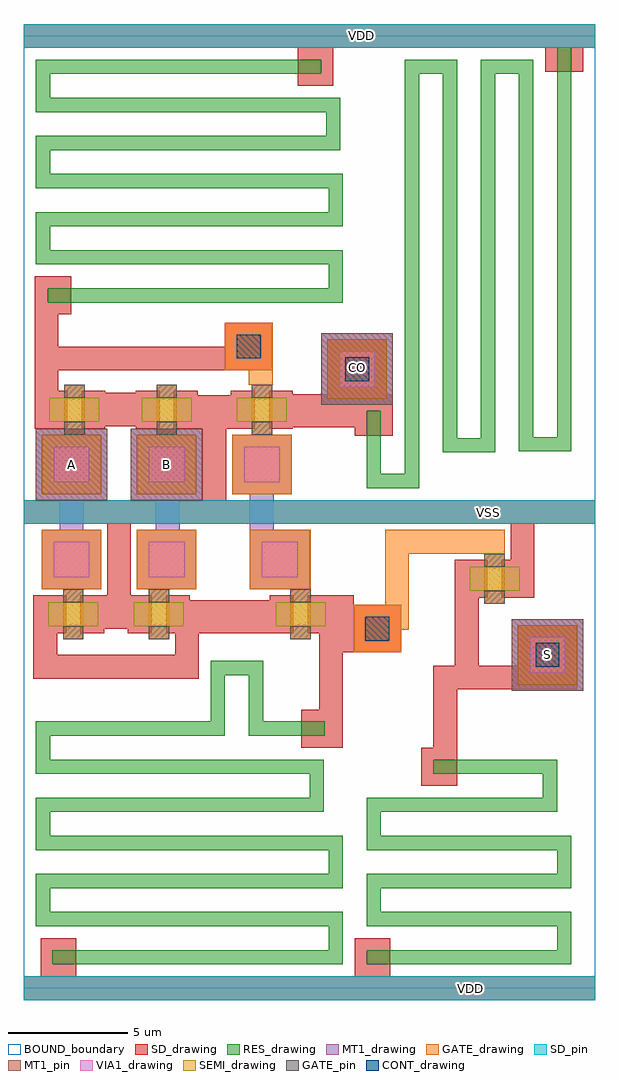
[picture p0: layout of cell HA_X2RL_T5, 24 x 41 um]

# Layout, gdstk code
from math import pi, radians
import gdstk
lib = gdstk.Library(unit=1e-6, precision=1e-09)
def R(c, l, rs):  # rectangles x0, y0, x1, y1
    for r in rs: c.add(gdstk.rectangle(r[:2], r[2:], *l))
def A(c, l, x, y, w, h, nx, ny, dx, dy):  # array of equal rectangles
    R(c, l, [(x+i*dx, y+j*dy, x+i*dx+w, y+j*dy+h) for i in range(nx) for j in range(ny)])
def P(c, l, *ps):  # polygons
    for p in ps: c.add(gdstk.Polygon(p, *l))
RES_drawing = (1, 0)
SEMI_drawing = (3, 0)
SD_drawing = (10, 0)
SD_pin = (10, 3)
GATE_drawing = (11, 0)
GATE_pin = (11, 3)
MT1_drawing = (20, 0)
MT1_pin = (20, 3)
CONT_drawing = (30, 0)
VIA1_drawing = (41, 0)
BOUND_boundary = (150, 5)

nch_cdns_772544902940 = lib.new_cell('nch_CDNS_772544902940')
R(nch_cdns_772544902940, SEMI_drawing, [(-1.05,-0.5,1.05,0.5)])
R(nch_cdns_772544902940, SD_drawing, [(-1.3,-0.8,-0.3,0.8), (0.3,-0.8,1.3,0.8)])
R(nch_cdns_772544902940, GATE_drawing, [(-0.425,-1.05,0.425,1.05)])
R(nch_cdns_772544902940, GATE_pin, [(-0.425,-1.05,0.425,-0.5), (-0.425,0.5,0.425,1.05)])

sd_gate_cdns_77254490294 = lib.new_cell('SD_GATE_CDNS_772544902940')
R(sd_gate_cdns_77254490294, SD_drawing, [(-1,-1,1,1)])
R(sd_gate_cdns_77254490294, GATE_drawing, [(-1,-1,1,1)])
R(sd_gate_cdns_77254490294, CONT_drawing, [(-0.5,-0.5,0.5,0.5)])

gate_mt1_cdns_7725449029 = lib.new_cell('GATE_MT1_CDNS_772544902941')
R(gate_mt1_cdns_7725449029, GATE_drawing, [(-1.25,-1.25,1.25,1.25)])
R(gate_mt1_cdns_7725449029, MT1_drawing, [(-1.25,-1.25,1.25,1.25)])
R(gate_mt1_cdns_7725449029, VIA1_drawing, [(-0.75,-0.75,0.75,0.75)])

ha_x2rl_t5 = lib.new_cell('HA_X2RL_T5')
R(ha_x2rl_t5, SD_drawing, [(0.7,0.5,2.2,2.1), (13.9,0.5,15.4,2.1), (16.7,8.5,18.2,10.1), (11.65,10.1,13.4,11.7), (20.75,12.75,23.25,15.25), (13.9,23.2,15.5,23.55), (12.75,24.75,15.25,27.25), (0.5,28.3,2,29.9), (11.5,37.9,13,39.5), (21.9,38.5,23.5,39.5)])
P(ha_x2rl_t5, SD_drawing, [(13.85,16.5),(12.4,16.5),(12.4,11.7),(13.4,11.7),(13.4,14.1),(13.85,14.1)])
A(ha_x2rl_t5, SD_pin, 0, -0.5, 24, 1, 1, 3, 0, 20)
R(ha_x2rl_t5, GATE_drawing, [(19.4,18.2,20.15,18.25)])
P(ha_x2rl_t5, GATE_drawing, [(6.15,16.85),(5.15,16.85),(5.15,16.75),(5.25,16.75),(5.25,16.7),(6,16.7),(6,16.75),(6.15,16.75)],
  [(12.05,19.25),(11.2,19.25),(11.2,16.75),(11.3,16.75),(11.3,16.7),(12.05,16.7)],
  [(2.6,16.85),(1.6,16.85),(1.6,16.75),(1.7,16.75),(1.7,16.7),(2.45,16.7),(2.45,16.75),(2.6,16.75)],
  [(1.6,23.15),(2.6,23.15),(2.6,23.25),(2.5,23.25),(2.5,23.3),(1.75,23.3),(1.75,23.25),(1.6,23.25)],
  [(9.45,25.45),(10.45,25.45),(10.45,25.35),(10.375,25.35),(10.375,25.3),(9.625,25.3),(9.625,25.35),(9.45,25.35)],
  [(9.475,23.15),(10.475,23.15),(10.475,23.25),(10.375,23.25),(10.375,23.3),(9.625,23.3),(9.625,23.25),(9.475,23.25)],
  [(5.475,23.15),(6.475,23.15),(6.475,23.25),(6.375,23.25),(6.375,23.3),(5.625,23.3),(5.625,23.25),(5.475,23.25)])
R(ha_x2rl_t5, MT1_drawing, [(20.5,12.5,23.5,15.5), (0.5,20.5,3.5,23.5), (4.5,20.5,7.5,23.5), (12.5,24.5,15.5,27.5)])
R(ha_x2rl_t5, MT1_pin, [(20.5,12.5,23.5,15.5), (0.5,20.5,3.5,23.5), (4.5,20.5,7.5,23.5), (12.5,24.5,15.5,27.5)])
R(ha_x2rl_t5, BOUND_boundary, [(0,0,24,40)])
ha_x2rl_t5.add(gdstk.FlexPath([(22.75,13.05),(18.85,13.05)], 1, ends="extended", simple_path=True, layer=10, datatype=0))  # SD_drawing
ha_x2rl_t5.add(gdstk.FlexPath([(18.6,18),(18.6,13.05)], 1, ends=(0, 0.5), simple_path=True, layer=10, datatype=0))  # SD_drawing
ha_x2rl_t5.add(gdstk.FlexPath([(17.7,13.05),(17.7,10.6)], 1, ends="extended", simple_path=True, layer=10, datatype=0))  # SD_drawing
ha_x2rl_t5.add(gdstk.FlexPath([(18.6,13.05),(17.7,13.05)], 1, ends="extended", simple_path=True, layer=10, datatype=0))  # SD_drawing
ha_x2rl_t5.add(gdstk.FlexPath([(20.95,20),(24,20)], 1, ends=(0.5, 0), simple_path=True, layer=10, datatype=0))  # SD_drawing
ha_x2rl_t5.add(gdstk.FlexPath([(10.325,15.6),(6.9,15.6)], 1.4, ends="flush", simple_path=True, layer=10, datatype=0))  # SD_drawing
ha_x2rl_t5.add(gdstk.FlexPath([(10.45,26.45),(1.2,26.45)], 1, ends="flush", simple_path=True, layer=10, datatype=0))  # SD_drawing
ha_x2rl_t5.add(gdstk.FlexPath([(20.95,20),(20.95,20.15)], 1, ends=(0.5, 0), simple_path=True, layer=10, datatype=0))  # SD_drawing
ha_x2rl_t5.add(gdstk.FlexPath([(8,24.9),(8,20.5)], 1, ends="flush", simple_path=True, layer=10, datatype=0))  # SD_drawing
ha_x2rl_t5.add(gdstk.FlexPath([(0,0),(24,0)], 1, ends="flush", simple_path=True, layer=10, datatype=0))  # SD_drawing
ha_x2rl_t5.add(gdstk.FlexPath([(4,15.8),(4,19.6)], 1, ends=(0.7, 0.5), simple_path=True, layer=10, datatype=0))  # SD_drawing
ha_x2rl_t5.add(gdstk.FlexPath([(3.3,15.8),(4,15.8)], 1.4, ends=(0, 0.5), simple_path=True, layer=10, datatype=0))  # SD_drawing
ha_x2rl_t5.add(gdstk.FlexPath([(4,15.8),(4.425,15.8)], 1.4, ends=(0.5, 0), simple_path=True, layer=10, datatype=0))  # SD_drawing
ha_x2rl_t5.add(gdstk.FlexPath([(0.95,29.4),(1.5,29.4)], 1, ends=(0.5, 0), simple_path=True, layer=10, datatype=0))  # SD_drawing
ha_x2rl_t5.add(gdstk.FlexPath([(0.95,24),(0.95,29.4)], 1, ends="extended", simple_path=True, layer=10, datatype=0))  # SD_drawing
ha_x2rl_t5.add(gdstk.FlexPath([(1.5,24),(0.95,24)], 1, ends=(0, 0.5), simple_path=True, layer=10, datatype=0))  # SD_drawing
ha_x2rl_t5.add(gdstk.FlexPath([(7.25,24.2),(9.7,24.2)], 1.4, ends="flush", simple_path=True, layer=10, datatype=0))  # SD_drawing
ha_x2rl_t5.add(gdstk.FlexPath([(4.7,24.3),(3.425,24.3)], 1.4, ends="flush", simple_path=True, layer=10, datatype=0))  # SD_drawing
ha_x2rl_t5.add(gdstk.FlexPath([(14.8,24.25),(14.8,24.95)], 1.4, ends=(0.7, 0), simple_path=True, layer=10, datatype=0))  # SD_drawing
ha_x2rl_t5.add(gdstk.FlexPath([(11.3,24.25),(14.8,24.25)], 1.4, ends=(0, 0.7), simple_path=True, layer=10, datatype=0))  # SD_drawing
ha_x2rl_t5.add(gdstk.FlexPath([(20.95,16.4),(20.95,20)], 1, ends=(0, 0.5), simple_path=True, layer=10, datatype=0))  # SD_drawing
ha_x2rl_t5.add(gdstk.FlexPath([(6.85,14.9),(6.85,14)], 1, ends=(0, 0.5), simple_path=True, layer=10, datatype=0))  # SD_drawing
ha_x2rl_t5.add(gdstk.FlexPath([(0.9,13.5),(7.35,13.5)], 1, ends=(0.5, 0), simple_path=True, layer=10, datatype=0))  # SD_drawing
ha_x2rl_t5.add(gdstk.FlexPath([(0.9,16.5),(0.9,13.5)], 1, ends=(0, 0.5), simple_path=True, layer=10, datatype=0))  # SD_drawing
ha_x2rl_t5.add(gdstk.FlexPath([(4,15.1),(4,15.8)], 1, ends=(0, 0.7), simple_path=True, layer=10, datatype=0))  # SD_drawing
ha_x2rl_t5.add(gdstk.FlexPath([(0,40),(24,40)], 1, ends="flush", simple_path=True, layer=10, datatype=0))  # SD_drawing
ha_x2rl_t5.add(gdstk.FlexPath([(0,20),(20.95,20)], 1, ends=(0, 0.5), simple_path=True, layer=10, datatype=0))  # SD_drawing
ha_x2rl_t5.add(gdstk.FlexPath([(15.675,18.75),(15.175,18.75)], 1, ends=(0.5, 0), simple_path=True, layer=11, datatype=0))  # GATE_drawing
ha_x2rl_t5.add(gdstk.FlexPath([(15.675,18.75),(15.675,15.55)], 1, ends="extended", simple_path=True, layer=11, datatype=0))  # GATE_drawing
ha_x2rl_t5.add(gdstk.FlexPath([(9.95,25.45),(9.95,27.05)], 1, ends="flush", simple_path=True, layer=11, datatype=0))  # GATE_drawing
ha_x2rl_t5.add(gdstk.FlexPath([(20.2,18.75),(15.675,18.75)], 1, ends=(0, 0.5), simple_path=True, layer=11, datatype=0))  # GATE_drawing
ha_x2rl_t5.add(gdstk.FlexPath([(15.675,15.55),(14.275,15.55)], 1, ends=(0.5, 0), simple_path=True, layer=11, datatype=0))  # GATE_drawing
ha_x2rl_t5.add(gdstk.FlexPath([(15.675,19.25),(15.675,18.75)], 1, ends=(0, 0.5), simple_path=True, layer=11, datatype=0))  # GATE_drawing
ha_x2rl_t5.add(gdstk.FlexPath([(1.2,1.3),(13.1,1.3),(13.1,2.9),(0.8,2.9),(0.8,4.5),(13.1,4.5),(13.1,6.1),(0.8,6.1),(0.8,7.7),(12.3,7.7),(12.3,9.3),(0.8,9.3),(0.8,10.9),(8.15,10.9),(8.15,13.45),(9.75,13.45),(9.75,10.9),(12.65,10.9)], 0.6, ends="flush", simple_path=True, layer=1, datatype=0))  # RES_drawing
ha_x2rl_t5.add(gdstk.FlexPath([(1,29.1),(13.1,29.1),(13.1,30.7),(0.8,30.7),(0.8,32.3),(13.1,32.3),(13.1,33.9),(0.8,33.9),(0.8,35.5),(13,35.5),(13,37.1),(0.8,37.1),(0.8,38.7),(12.5,38.7)], 0.6, ends="flush", simple_path=True, layer=1, datatype=0))  # RES_drawing
ha_x2rl_t5.add(gdstk.FlexPath([(22.7,39.5),(22.7,22.85),(21.1,22.85),(21.1,38.7),(19.5,38.7),(19.5,22.8),(17.9,22.8),(17.9,38.7),(16.3,38.7),(16.3,21.3),(14.7,21.3),(14.7,24.25)], 0.6, ends="flush", simple_path=True, layer=1, datatype=0))  # RES_drawing
ha_x2rl_t5.add(gdstk.FlexPath([(14.4,1.3),(22.7,1.3),(22.7,2.9),(14.7,2.9),(14.7,4.5),(22.7,4.5),(22.7,6.1),(14.7,6.1),(14.7,7.7),(22.1,7.7),(22.1,9.3),(17.2,9.3)], 0.6, ends="flush", simple_path=True, layer=1, datatype=0))  # RES_drawing
ha_x2rl_t5.add(gdstk.FlexPath([(10,17.75),(10,22.1)], 1, ends="flush", simple_path=True, layer=20, datatype=0))  # MT1_drawing
ha_x2rl_t5.add(gdstk.FlexPath([(6.05,18),(6.05,23.5)], 1, ends="flush", simple_path=True, layer=20, datatype=0))  # MT1_drawing
ha_x2rl_t5.add(gdstk.FlexPath([(2,18),(2,22)], 1, ends="flush", simple_path=True, layer=20, datatype=0))  # MT1_drawing
ha_x2rl_t5.add(gdstk.FlexPath([(2,22),(2,23.5)], 1, ends="flush", simple_path=True, layer=20, datatype=0))  # MT1_drawing
ha_x2rl_t5.add(gdstk.Reference(nch_cdns_772544902940, (2.075,15.7), rotation=pi))
ha_x2rl_t5.add(gdstk.Reference(nch_cdns_772544902940, (5.675,15.7), x_reflection=True))
ha_x2rl_t5.add(gdstk.Reference(nch_cdns_772544902940, (6,24.3), rotation=pi, x_reflection=True))
ha_x2rl_t5.add(gdstk.Reference(nch_cdns_772544902940, (2.125,24.3), rotation=pi, x_reflection=True))
ha_x2rl_t5.add(gdstk.Reference(nch_cdns_772544902940, (19.775,17.2), x_reflection=True))
ha_x2rl_t5.add(gdstk.Reference(nch_cdns_772544902940, (10,24.3)))
ha_x2rl_t5.add(gdstk.Reference(nch_cdns_772544902940, (11.625,15.7), x_reflection=True))
ha_x2rl_t5.add(gdstk.Reference(sd_gate_cdns_77254490294, (22,14)))
ha_x2rl_t5.add(gdstk.Reference(sd_gate_cdns_77254490294, (14,26)))
ha_x2rl_t5.add(gdstk.Reference(sd_gate_cdns_77254490294, (9.45,26.95)))
ha_x2rl_t5.add(gdstk.Reference(sd_gate_cdns_77254490294, (14.85,15.1), x_reflection=True))
ha_x2rl_t5.add(gdstk.Reference(gate_mt1_cdns_7725449029, (22,14)))
ha_x2rl_t5.add(gdstk.Reference(gate_mt1_cdns_7725449029, (14,26)))
ha_x2rl_t5.add(gdstk.Reference(gate_mt1_cdns_7725449029, (10,22)))
ha_x2rl_t5.add(gdstk.Reference(gate_mt1_cdns_7725449029, (10.75,18)))
ha_x2rl_t5.add(gdstk.Reference(gate_mt1_cdns_7725449029, (6,18)))
ha_x2rl_t5.add(gdstk.Reference(gate_mt1_cdns_7725449029, (2,18)))
ha_x2rl_t5.add(gdstk.Reference(gate_mt1_cdns_7725449029, (2,22)))
ha_x2rl_t5.add(gdstk.Reference(gate_mt1_cdns_7725449029, (6,22)))
ha_x2rl_t5.add(gdstk.Label('S', (22,14), layer=20, texttype=3))
ha_x2rl_t5.add(gdstk.Label('CO', (14,26.05), layer=20, texttype=3))
ha_x2rl_t5.add(gdstk.Label('B', (6,22), layer=20, texttype=3))
ha_x2rl_t5.add(gdstk.Label('A', (2,22), layer=20, texttype=3))
ha_x2rl_t5.add(gdstk.Label('VDD', (18.75,0), layer=10, texttype=3))
ha_x2rl_t5.add(gdstk.Label('VSS', (19.5,20), layer=10, texttype=3))
ha_x2rl_t5.add(gdstk.Label('VDD', (14.2,40), layer=10, texttype=3))

lib.write_gds('HA_X2RL_T5.gds')
